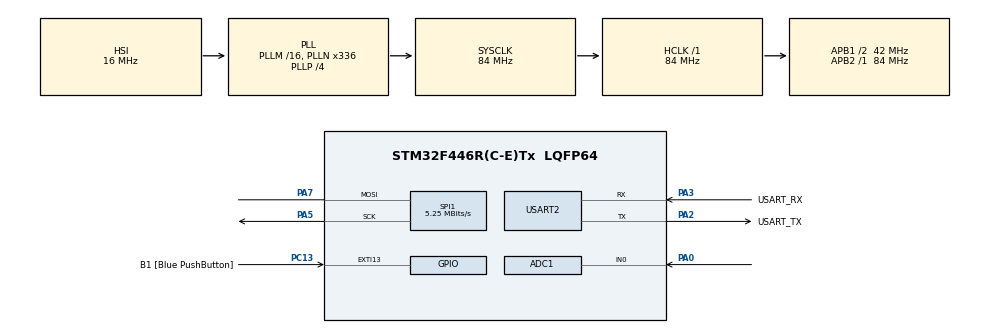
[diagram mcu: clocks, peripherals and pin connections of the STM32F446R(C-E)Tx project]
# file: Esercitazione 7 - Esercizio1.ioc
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Mcu.Family=STM32F4
PC15-OSC32_OUT.Mode=LSE-External-Oscillator
PH0-OSC_IN.Signal=RCC_OSC_IN
RCC.CortexFreq_Value=84000000
ADC1.Rank-0\#ChannelRegularConversion=1
PA7.Mode=Simplex_Bidirectional_Master
SPI1.VirtualType=VM_MASTER
PC13.Signal=GPXTI13
PA14.GPIO_Label=TCK
PC13.GPIO_Label=B1 [Blue PushButton]
RCC.APB1CLKDivider=RCC_HCLK_DIV2
PC14-OSC32_IN.Signal=RCC_OSC32_IN
RCC.SYSCLKSource=RCC_SYSCLKSOURCE_PLLCLK
ProjectManager.StackSize=0x400
PA0-WKUP.Signal=ADCx_IN0
PA13.Signal=SYS_JTMS-SWDIO
PA3.Mode=Asynchronous
ProjectManager.TargetToolchain=STM32CubeIDE
SPI1.Direction=SPI_DIRECTION_1LINE
RCC.HCLKFreq_Value=84000000
ADC1.Resolution=ADC_RESOLUTION_12B
RCC.APB2TimFreq_Value=84000000
SPI1.CalculateBaudRate=5.25 MBits/s
RCC.USBFreq_Value=168000000
PC15-OSC32_OUT.Signal=RCC_OSC32_OUT
RCC.AHBFreq_Value=84000000
PH0-OSC_IN.Mode=HSE-External-Oscillator
PA5.Signal=SPI1_SCK
ADC1.Channel-0\#ChannelRegularConversion=ADC_CHANNEL_0
RCC.HSE_VALUE=8000000
board=NUCLEO-F446RE
RCC.VCOOutputFreq_Value=336000000
RCC.APB2Freq_Value=84000000
PC14-OSC32_IN.Mode=LSE-External-Oscillator
SPI1.Mode=SPI_MODE_MASTER
PA14.Mode=Serial_Wire
PH1-OSC_OUT.Signal=RCC_OSC_OUT
SH.ADCx_IN0.0=ADC1_IN0,IN0
PA13.Mode=Serial_Wire
Mcu.Name=STM32F446R(C-E)Tx
ADC1.SamplingTime-0\#ChannelRegularConversion=ADC_SAMPLETIME_3CYCLES
PA2.Signal=USART2_TX
PA13.GPIO_Label=TMS
RCC.FLatency-AdvancedSettings=FLASH_LATENCY_2
PH1-OSC_OUT.Mode=HSE-External-Oscillator
RCC.48MHZClocksFreq_Value=84000000
PB3.Signal=SYS_JTDO-SWO
RCC.SYSCLKFreq_VALUE=84000000
Mcu.Package=LQFP64
ADC1.master=1
PC13.GPIO_ModeDefaultEXTI=GPIO_MODE_IT_FALLING
USART2.VirtualMode=VM_ASYNC
PA2.GPIO_Label=USART_TX
PA14.Signal=SYS_JTCK-SWCLK
ProjectManager.HeapSize=0x200
RCC.HSI_VALUE=16000000
RCC.PLLP=RCC_PLLP_DIV4
NVIC.PriorityGroup=NVIC_PRIORITYGROUP_0
ADC1.NbrOfConversionFlag=1
RCC.PLLN=336
RCC.APB1TimFreq_Value=84000000
PA2.Mode=Asynchronous
RCC.APB1Freq_Value=42000000
SPI1.BaudRatePrescaler=SPI_BAUDRATEPRESCALER_16
PA3.GPIO_Label=USART_RX
PA3.Signal=USART2_RX
PA5.Mode=Simplex_Bidirectional_Master
PA7.Signal=SPI1_MOSI
PB3.GPIO_Label=SWO

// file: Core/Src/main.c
/* USER CODE BEGIN Header */
/**
  ******************************************************************************
  * @file           : main.c
  * @brief          : Main program body
  ******************************************************************************
  * @attention
  *
  * <h2><center>&copy; Copyright (c) 2021 STMicroelectronics.
  * All rights reserved.</center></h2>
  *
  * This software component is licensed by ST under BSD 3-Clause license,
  * the "License"; You may not use this file except in compliance with the
  * License. You may obtain a copy of the License at:
  *                        opensource.org/licenses/BSD-3-Clause
  *
  ******************************************************************************
  */
/* USER CODE END Header */
#include "main.h"

/* USER CODE BEGIN Includes */
#include "stdbool.h"
#include "stdlib.h"
#include "stdio.h"
#include "custom_lib/ADC_sensor.h"
#include "custom_lib/avg_lib.h"
#include "arm_math.h"
/* USER CODE END Includes */

ADC_HandleTypeDef hadc1;

SPI_HandleTypeDef hspi1;

UART_HandleTypeDef huart2;

/* USER CODE BEGIN PV */

ADC_ChannelConfTypeDef sConfig = {0};

#define STOP 'S'
#define START 'P'

#define RED 0b00000010
#define GRE 0b00001000
#define BLU 0b00100000
#define WHI 0b00101010

unsigned char readBuf[1];
uint8_t read_value;
volatile ITStatus UartReady = SET; // Uart READY Flag

float LM35;
float mean_LM35;
float32_t testOutput[10];
int i = 0;

char uart_data_buff[10]; //Fixed Size!

bool send_flag = false;

uint8_t outputBuffer[1]; // Output Buffer for SPI

/* USER CODE END PV */

void SystemClock_Config(void);
static void MX_GPIO_Init(void);
static void MX_USART2_UART_Init(void);
static void MX_ADC1_Init(void);
static void MX_SPI1_Init(void);

/* USER CODE BEGIN 0 */

void USART2_IRQHandler(void){
	HAL_UART_IRQHandler(&huart2);
}

void HAL_UART_RxCpltCallback(UART_HandleTypeDef *UartHandle) {
	// Set transmission flag: transfer complete
	UartReady = SET;
}

void read_UART_input(void);
void write_UART_output(uint8_t* data);
void ShiftReg_out(uint8_t *data, uint16_t size);

/* USER CODE END 0 */

int main(void)
{

  /* MCU Configuration--------------------------------------------------------*/

  /* Reset of all peripherals, Initializes the Flash interface and the Systick. */
  HAL_Init();

  /* Configure the system clock */
  SystemClock_Config();

  /* Initialize all configured peripherals */
  MX_GPIO_Init();
  MX_USART2_UART_Init();
  MX_ADC1_Init();
  MX_SPI1_Init();
  /* USER CODE BEGIN 2 */
  HAL_NVIC_SetPriority(USART2_IRQn, 0, 0);
  HAL_NVIC_EnableIRQ(USART2_IRQn);
  /* USER CODE END 2 */

  /* Infinite loop */
  /* USER CODE BEGIN WHILE */
  while (1)
  {
	read_UART_input();
	testOutput[i] = getLM35(&hadc1, &sConfig, ADC_CHANNEL_0, 1, ADC_SAMPLETIME_3CYCLES);

	i++;
	if(i>10){
		send_flag = true;
		arm_mean_f32(testOutput, 10, &mean_LM35);
		i = 0;
	}

	if ((readBuf[0] == START) ){
		outputBuffer[0] = GRE;
		if(send_flag == true){
			outputBuffer[0] = BLU;
			sprintf(uart_data_buff, "\r%.3f\n", mean_LM35);
			HAL_UART_Transmit(&huart2, (uint8_t *)uart_data_buff, sizeof(uart_data_buff), HAL_MAX_DELAY);
			send_flag = false;
			}
	}
	if (readBuf[0] == STOP){
		if(outputBuffer[0] == RED){
			outputBuffer[0] = WHI;
		}else{
		outputBuffer[0] = RED;
			}
	}

	ShiftReg_out(outputBuffer, 1);

	  /* USER CODE END WHILE */

  }
}

void SystemClock_Config(void)
{
  RCC_OscInitTypeDef RCC_OscInitStruct = {0};
  RCC_ClkInitTypeDef RCC_ClkInitStruct = {0};

  /** Configure the main internal regulator output voltage
  */
  __HAL_RCC_PWR_CLK_ENABLE();
  __HAL_PWR_VOLTAGESCALING_CONFIG(PWR_REGULATOR_VOLTAGE_SCALE3);
  /** Initializes the RCC Oscillators according to the specified parameters
  * in the RCC_OscInitTypeDef structure.
  */
  RCC_OscInitStruct.OscillatorType = RCC_OSCILLATORTYPE_HSI;
  RCC_OscInitStruct.HSIState = RCC_HSI_ON;
  RCC_OscInitStruct.HSICalibrationValue = RCC_HSICALIBRATION_DEFAULT;
  RCC_OscInitStruct.PLL.PLLState = RCC_PLL_ON;
  RCC_OscInitStruct.PLL.PLLSource = RCC_PLLSOURCE_HSI;
  RCC_OscInitStruct.PLL.PLLM = 16;
  RCC_OscInitStruct.PLL.PLLN = 336;
  RCC_OscInitStruct.PLL.PLLP = RCC_PLLP_DIV4;
  RCC_OscInitStruct.PLL.PLLQ = 2;
  RCC_OscInitStruct.PLL.PLLR = 2;
  if (HAL_RCC_OscConfig(&RCC_OscInitStruct) != HAL_OK)
  {
    Error_Handler();
  }
  /** Initializes the CPU, AHB and APB buses clocks
  */
  RCC_ClkInitStruct.ClockType = RCC_CLOCKTYPE_HCLK|RCC_CLOCKTYPE_SYSCLK
                              |RCC_CLOCKTYPE_PCLK1|RCC_CLOCKTYPE_PCLK2;
  RCC_ClkInitStruct.SYSCLKSource = RCC_SYSCLKSOURCE_PLLCLK;
  RCC_ClkInitStruct.AHBCLKDivider = RCC_SYSCLK_DIV1;
  RCC_ClkInitStruct.APB1CLKDivider = RCC_HCLK_DIV2;
  RCC_ClkInitStruct.APB2CLKDivider = RCC_HCLK_DIV1;

  if (HAL_RCC_ClockConfig(&RCC_ClkInitStruct, FLASH_LATENCY_2) != HAL_OK)
  {
    Error_Handler();
  }
}

static void MX_ADC1_Init(void)
{

 // ADC_ChannelConfTypeDef sConfig = {0};

  /** Configure the global features of the ADC (Clock, Resolution, Data Alignment and number of conversion)
  */
  hadc1.Instance = ADC1;
  hadc1.Init.ClockPrescaler = ADC_CLOCK_SYNC_PCLK_DIV4;
  hadc1.Init.Resolution = ADC_RESOLUTION_12B;
  hadc1.Init.ScanConvMode = DISABLE;
  hadc1.Init.ContinuousConvMode = DISABLE;
  hadc1.Init.DiscontinuousConvMode = DISABLE;
  hadc1.Init.ExternalTrigConvEdge = ADC_EXTERNALTRIGCONVEDGE_NONE;
  hadc1.Init.ExternalTrigConv = ADC_SOFTWARE_START;
  hadc1.Init.DataAlign = ADC_DATAALIGN_RIGHT;
  hadc1.Init.NbrOfConversion = 1;
  hadc1.Init.DMAContinuousRequests = DISABLE;
  hadc1.Init.EOCSelection = ADC_EOC_SINGLE_CONV;
  if (HAL_ADC_Init(&hadc1) != HAL_OK)
  {
    Error_Handler();
  }
  /** Configure for the selected ADC regular channel its corresponding rank in the sequencer and its sample time.
  */
//  sConfig.Channel = ADC_CHANNEL_0;
//  sConfig.Rank = 1;
//  sConfig.SamplingTime = ADC_SAMPLETIME_3CYCLES;
//  if (HAL_ADC_ConfigChannel(&hadc1, &sConfig) != HAL_OK)
//  {
//    Error_Handler();
//  }

}

static void MX_SPI1_Init(void)
{

  /* SPI1 parameter configuration*/
  hspi1.Instance = SPI1;
  hspi1.Init.Mode = SPI_MODE_MASTER;
  hspi1.Init.Direction = SPI_DIRECTION_1LINE;
  hspi1.Init.DataSize = SPI_DATASIZE_8BIT;
  hspi1.Init.CLKPolarity = SPI_POLARITY_LOW;
  hspi1.Init.CLKPhase = SPI_PHASE_1EDGE;
  hspi1.Init.NSS = SPI_NSS_SOFT;
  hspi1.Init.BaudRatePrescaler = SPI_BAUDRATEPRESCALER_16;
  hspi1.Init.FirstBit = SPI_FIRSTBIT_MSB;
  hspi1.Init.TIMode = SPI_TIMODE_DISABLE;
  hspi1.Init.CRCCalculation = SPI_CRCCALCULATION_DISABLE;
  hspi1.Init.CRCPolynomial = 10;
  if (HAL_SPI_Init(&hspi1) != HAL_OK)
  {
    Error_Handler();
  }

}

static void MX_USART2_UART_Init(void)
{

  huart2.Instance = USART2;
  huart2.Init.BaudRate = 115200;
  huart2.Init.WordLength = UART_WORDLENGTH_8B;
  huart2.Init.StopBits = UART_STOPBITS_1;
  huart2.Init.Parity = UART_PARITY_NONE;
  huart2.Init.Mode = UART_MODE_TX_RX;
  huart2.Init.HwFlowCtl = UART_HWCONTROL_NONE;
  huart2.Init.OverSampling = UART_OVERSAMPLING_16;
  if (HAL_UART_Init(&huart2) != HAL_OK)
  {
    Error_Handler();
  }

}

static void MX_GPIO_Init(void)
{
  GPIO_InitTypeDef GPIO_InitStruct = {0};

  /* GPIO Ports Clock Enable */
  __HAL_RCC_GPIOC_CLK_ENABLE();
  __HAL_RCC_GPIOH_CLK_ENABLE();
  __HAL_RCC_GPIOA_CLK_ENABLE();
  __HAL_RCC_GPIOB_CLK_ENABLE();

  /*Configure GPIO pin : B1_Pin */
  GPIO_InitStruct.Pin = B1_Pin;
  GPIO_InitStruct.Mode = GPIO_MODE_IT_FALLING;
  GPIO_InitStruct.Pull = GPIO_NOPULL;
  HAL_GPIO_Init(B1_GPIO_Port, &GPIO_InitStruct);

}

/* USER CODE BEGIN 4 */

void read_UART_input() {
	if(UartReady == SET) {
		UartReady = RESET;
		HAL_UART_Receive_IT(&huart2, (uint8_t*)readBuf, 1);
		//read_value = atoi(readBuf);
	}
}

/* Output on Shift Register */
void ShiftReg_out(uint8_t *data, uint16_t size){
	  HAL_GPIO_WritePin(GPIOB, GPIO_PIN_6, GPIO_PIN_RESET);
	  HAL_SPI_Transmit(&hspi1, data, size, 100);
	  HAL_GPIO_WritePin(GPIOB, GPIO_PIN_6, GPIO_PIN_SET);
}

/* USER CODE END 4 */

void Error_Handler(void)
{
  __disable_irq();
  while (1)
  {
  }
}

/************************ (C) COPYRIGHT STMicroelectronics *****END OF FILE****/
